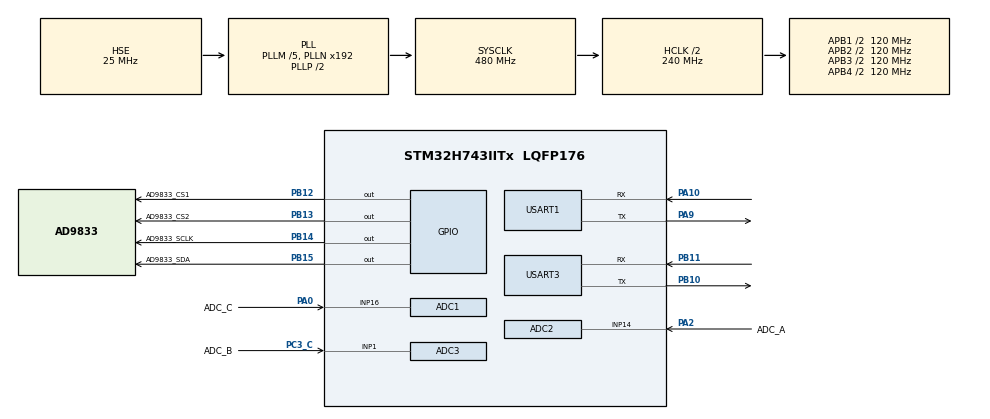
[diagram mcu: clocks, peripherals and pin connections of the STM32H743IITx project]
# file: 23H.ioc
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ADC1.Channel-0\#ChannelRegularConversion=ADC_CHANNEL_16
ADC1.ContinuousConvMode=DISABLE
ADC1.ConversionDataManagement=ADC_CONVERSIONDATA_DMA_ONESHOT
ADC1.ExternalTrigConv=ADC_EXTERNALTRIG_T8_TRGO
ADC1.NbrOfConversionFlag=1
ADC1.OffsetNumber-0\#ChannelRegularConversion=ADC_OFFSET_NONE
ADC1.OffsetSignedSaturation-0\#ChannelRegularConversion=DISABLE
ADC1.Rank-0\#ChannelRegularConversion=1
ADC1.SamplingTime-0\#ChannelRegularConversion=ADC_SAMPLETIME_1CYCLE_5
ADC1.master=1
ADC2.Channel-0\#ChannelRegularConversion=ADC_CHANNEL_14
ADC2.ConversionDataManagement=ADC_CONVERSIONDATA_DMA_ONESHOT
ADC2.ExternalTrigConv=ADC_EXTERNALTRIG_T8_TRGO
ADC2.NbrOfConversionFlag=1
ADC2.OffsetNumber-0\#ChannelRegularConversion=ADC_OFFSET_NONE
ADC2.OffsetSignedSaturation-0\#ChannelRegularConversion=DISABLE
ADC2.Rank-0\#ChannelRegularConversion=1
ADC2.SamplingTime-0\#ChannelRegularConversion=ADC_SAMPLETIME_1CYCLE_5
ADC3.Channel-1\#ChannelRegularConversion=ADC_CHANNEL_1
ADC3.ConversionDataManagement=ADC_CONVERSIONDATA_DMA_ONESHOT
ADC3.ExternalTrigConv=ADC_EXTERNALTRIG_T8_TRGO
ADC3.NbrOfConversionFlag=1
ADC3.OffsetNumber-1\#ChannelRegularConversion=ADC_OFFSET_NONE
ADC3.OffsetSignedSaturation-1\#ChannelRegularConversion=DISABLE
ADC3.Rank-1\#ChannelRegularConversion=1
ADC3.SamplingTime-1\#ChannelRegularConversion=ADC_SAMPLETIME_1CYCLE_5
Dma.ADC1.0.Direction=DMA_PERIPH_TO_MEMORY
Dma.ADC1.0.EventEnable=DISABLE
Dma.ADC1.0.FIFOMode=DMA_FIFOMODE_DISABLE
Dma.ADC1.0.Instance=DMA1_Stream0
Dma.ADC1.0.MemDataAlignment=DMA_MDATAALIGN_HALFWORD
Dma.ADC1.0.MemInc=DMA_MINC_ENABLE
Dma.ADC1.0.Mode=DMA_NORMAL
Dma.ADC1.0.PeriphDataAlignment=DMA_PDATAALIGN_HALFWORD
Dma.ADC1.0.PeriphInc=DMA_PINC_DISABLE
Dma.ADC1.0.Polarity=HAL_DMAMUX_REQ_GEN_RISING
Dma.ADC1.0.Priority=DMA_PRIORITY_LOW
Dma.ADC1.0.RequestNumber=1
Dma.ADC1.0.SignalID=NONE
Dma.ADC1.0.SyncEnable=DISABLE
Dma.ADC1.0.SyncPolarity=HAL_DMAMUX_SYNC_NO_EVENT
Dma.ADC1.0.SyncRequestNumber=1
Dma.ADC1.0.SyncSignalID=NONE
Dma.ADC2.1.Direction=DMA_PERIPH_TO_MEMORY
Dma.ADC2.1.EventEnable=DISABLE
Dma.ADC2.1.FIFOMode=DMA_FIFOMODE_DISABLE
Dma.ADC2.1.Instance=DMA1_Stream1
Dma.ADC2.1.MemDataAlignment=DMA_MDATAALIGN_HALFWORD
Dma.ADC2.1.MemInc=DMA_MINC_ENABLE
Dma.ADC2.1.Mode=DMA_NORMAL
Dma.ADC2.1.PeriphDataAlignment=DMA_PDATAALIGN_HALFWORD
Dma.ADC2.1.PeriphInc=DMA_PINC_DISABLE
Dma.ADC2.1.Polarity=HAL_DMAMUX_REQ_GEN_RISING
Dma.ADC2.1.Priority=DMA_PRIORITY_LOW
Dma.ADC2.1.RequestNumber=1
Dma.ADC2.1.SignalID=NONE
Dma.ADC2.1.SyncEnable=DISABLE
Dma.ADC2.1.SyncPolarity=HAL_DMAMUX_SYNC_NO_EVENT
Dma.ADC2.1.SyncRequestNumber=1
Dma.ADC2.1.SyncSignalID=NONE
Dma.ADC3.2.Direction=DMA_PERIPH_TO_MEMORY
Dma.ADC3.2.EventEnable=DISABLE
Dma.ADC3.2.FIFOMode=DMA_FIFOMODE_DISABLE
Dma.ADC3.2.Instance=DMA1_Stream2
Dma.ADC3.2.MemDataAlignment=DMA_MDATAALIGN_HALFWORD
Dma.ADC3.2.MemInc=DMA_MINC_ENABLE
Dma.ADC3.2.Mode=DMA_NORMAL
Dma.ADC3.2.PeriphDataAlignment=DMA_PDATAALIGN_HALFWORD
Dma.ADC3.2.PeriphInc=DMA_PINC_DISABLE
Dma.ADC3.2.Polarity=HAL_DMAMUX_REQ_GEN_RISING
Dma.ADC3.2.Priority=DMA_PRIORITY_LOW
Dma.ADC3.2.RequestNumber=1
Dma.ADC3.2.SignalID=NONE
Dma.ADC3.2.SyncEnable=DISABLE
Dma.ADC3.2.SyncPolarity=HAL_DMAMUX_SYNC_NO_EVENT
Dma.ADC3.2.SyncRequestNumber=1
Dma.ADC3.2.SyncSignalID=NONE
Dma.Request0=ADC1
Dma.Request1=ADC2
Dma.Request2=ADC3
Mcu.Family=STM32H7
Mcu.Name=STM32H743IITx
Mcu.Package=LQFP176
NVIC.DMA1_Stream0_IRQn=true\:0\:0\:false\:false\:true\:false\:true
NVIC.DMA1_Stream1_IRQn=true\:0\:0\:false\:false\:true\:false\:true
NVIC.DMA1_Stream2_IRQn=true\:0\:0\:false\:false\:true\:false\:true
NVIC.PriorityGroup=NVIC_PRIORITYGROUP_4
NVIC.USART1_IRQn=true\:0\:0\:false\:false\:true\:true\:true
PA0.GPIO_Label=ADC_C
PA0.Mode=IN16-Single-Ended
PA0.Signal=ADC1_INP16
PA10.Mode=Asynchronous
PA10.Signal=USART1_RX
PA13\ (JTMS/SWDIO).Mode=Serial_Wire
PA13\ (JTMS/SWDIO).Signal=DEBUG_JTMS-SWDIO
PA14\ (JTCK/SWCLK).Mode=Serial_Wire
PA14\ (JTCK/SWCLK).Signal=DEBUG_JTCK-SWCLK
PA2.GPIO_Label=ADC_A
PA2.Signal=ADCx_INP14
PA9.Mode=Asynchronous
PA9.Signal=USART1_TX
PB10.Mode=Asynchronous
PB10.Signal=USART3_TX
PB11.Mode=Asynchronous
PB11.Signal=USART3_RX
PB12.GPIO_Label=AD9833_CS1
PB12.Signal=GPIO_Output
PB13.GPIO_Label=AD9833_CS2
PB13.Signal=GPIO_Output
PB14.GPIO_Label=AD9833_SCLK
PB14.Signal=GPIO_Output
PB15.GPIO_Label=AD9833_SDA
PB15.Signal=GPIO_Output
PC14-OSC32_IN\ (OSC32_IN).Mode=LSE-External-Oscillator
PC14-OSC32_IN\ (OSC32_IN).Signal=RCC_OSC32_IN
PC15-OSC32_OUT\ (OSC32_OUT).Mode=LSE-External-Oscillator
PC15-OSC32_OUT\ (OSC32_OUT).Signal=RCC_OSC32_OUT
PC3_C.GPIO_Label=ADC_B
PC3_C.Mode=IN1-Single-Ended
PC3_C.Signal=ADC3_INP1
PH0-OSC_IN\ (PH0).Mode=HSE-External-Oscillator
PH0-OSC_IN\ (PH0).Signal=RCC_OSC_IN
PH1-OSC_OUT\ (PH1).Mode=HSE-External-Oscillator
PH1-OSC_OUT\ (PH1).Signal=RCC_OSC_OUT
ProjectManager.HeapSize=0x200
ProjectManager.StackSize=0x400
ProjectManager.TargetToolchain=MDK-ARM V5
RCC.ADCFreq_Value=75000000
RCC.APB1Freq_Value=120000000
RCC.APB2Freq_Value=120000000
RCC.APB3Freq_Value=120000000
RCC.APB4Freq_Value=120000000
RCC.CortexFreq_Value=480000000
RCC.D1PPRE=RCC_APB3_DIV2
RCC.D2PPRE1=RCC_APB1_DIV2
RCC.D2PPRE2=RCC_APB2_DIV2
RCC.D3PPRE=RCC_APB4_DIV2
RCC.DIVM1=5
RCC.DIVM2=2
RCC.DIVN1=192
RCC.DIVN2=12
RCC.HCLKFreq_Value=240000000
RCC.HPRE=RCC_HCLK_DIV2
RCC.PLL2FRACN=0
RCC.PLLFRACN=0
RCC.PLLSourceVirtual=RCC_PLLSOURCE_HSE
RCC.PWR_Regulator_Voltage_Scale=PWR_REGULATOR_VOLTAGE_SCALE0
RCC.SYSCLKFreq_VALUE=480000000
RCC.SYSCLKSource=RCC_SYSCLKSOURCE_PLLCLK
RCC.USBFreq_Value=480000000
SH.ADCx_INP14.0=ADC2_INP14,IN14-Single-Ended
TIM8.Period=234-1
TIM8.TIM_MasterOutputTrigger=TIM_TRGO_UPDATE
USART1.VirtualMode-Asynchronous=VM_ASYNC
USART3.VirtualMode-Asynchronous=VM_ASYNC
VP_TIM8_VS_ClockSourceINT.Mode=Internal
board=custom

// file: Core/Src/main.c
/* USER CODE BEGIN Header */
/**
 ******************************************************************************
 * @file           : main.c
 * @brief          : Main program body
 ******************************************************************************
 * @attention
 *
 * <h2><center>&copy; Copyright (c) 2026 STMicroelectronics.
 * All rights reserved.</center></h2>
 *
 * This software component is licensed by ST under Ultimate Liberty license
 * SLA0044, the "License"; You may not use this file except in compliance with
 * the License. You may obtain a copy of the License at:
 *                             www.st.com/SLA0044
 *
 ******************************************************************************
 */
/* USER CODE END Header */
#include "main.h"
#include "adc.h"
#include "dma.h"
#include "tim.h"
#include "usart.h"
#include "gpio.h"

/* USER CODE BEGIN Includes */
#include "command.h"
#include "state.h"

/* USER CODE END Includes */

/* USER CODE BEGIN PV */
#define TIM8_COUNTER_CLK_HZ 240000000

volatile uint8_t adc_half_ready = 0;
volatile uint8_t adc_full_ready = 0;
volatile int32_t adc_ready_offset = -1;
volatile uint64_t adc_sample_count = 0;
volatile uint64_t adc_ready_sample_start = 0;
volatile int32_t adc_fll_ready_offset = -1;
volatile uint64_t adc_fll_ready_sample_start = 0;
uint16_t ADC_C[ADC_LEN] = {0};
uint16_t ADC_AD9833_A[ADC_LEN] = {0};
uint16_t ADC_AD9833_B[ADC_LEN] = {0};
uint8_t ADC_flag = 0;

static volatile uint8_t adc_half_sync_mask = 0U;
static volatile uint8_t adc_full_sync_mask = 0U;
static volatile uint8_t adc_restart_pending = 0U;
/* USER CODE END PV */

void SystemClock_Config(void);
void PeriphCommonClock_Config(void);

/* USER CODE BEGIN 0 */
#define ADC_SYNC_C_MASK 0x01U
#define ADC_SYNC_A_MASK 0x02U
#define ADC_SYNC_B_MASK 0x04U
#define ADC_SYNC_ALL_MASK (ADC_SYNC_C_MASK | ADC_SYNC_A_MASK | ADC_SYNC_B_MASK)

static void ADC_StartAllDma(void)
{
    adc_half_sync_mask = 0U;
    adc_full_sync_mask = 0U;

    if (HAL_ADC_Start_DMA(&hadc1, (uint32_t *)ADC_C, ADC_LEN) != HAL_OK)
    {
        Error_Handler();
    }

    if (HAL_ADC_Start_DMA(&hadc2, (uint32_t *)ADC_AD9833_A, ADC_LEN) != HAL_OK)
    {
        Error_Handler();
    }

    if (HAL_ADC_Start_DMA(&hadc3, (uint32_t *)ADC_AD9833_B, ADC_LEN) != HAL_OK)
    {
        Error_Handler();
    }
}

static void ADC_ServiceRestart(void)
{
    if (adc_restart_pending == 0U)
    {
        return;
    }

    __disable_irq();
    adc_restart_pending = 0U;
    __enable_irq();

    ADC_StartAllDma();
    __HAL_TIM_SET_COUNTER(&htim8, 0U);
    __HAL_TIM_ENABLE(&htim8);
}

static uint8_t ADC_SyncMaskFromHandle(ADC_HandleTypeDef *hadc)
{
    if (hadc == &hadc1)
    {
        return ADC_SYNC_C_MASK;
    }

    if (hadc == &hadc2)
    {
        return ADC_SYNC_A_MASK;
    }

    if (hadc == &hadc3)
    {
        return ADC_SYNC_B_MASK;
    }

    return 0U;
}

/* USER CODE END 0 */

int main(void)
{

  /* MCU Configuration--------------------------------------------------------*/

  /* Reset of all peripherals, Initializes the Flash interface and the Systick. */
  HAL_Init();

  /* Configure the system clock */
  SystemClock_Config();

/* Configure the peripherals common clocks */
  PeriphCommonClock_Config();

  /* Initialize all configured peripherals */
  MX_GPIO_Init();
  MX_DMA_Init();
  MX_ADC1_Init();
  MX_TIM8_Init();
  MX_USART1_UART_Init();
  MX_USART3_UART_Init();
  MX_ADC2_Init();
  MX_ADC3_Init();
  /* USER CODE BEGIN 2 */
    HAL_ADCEx_Calibration_Start(&hadc1, ADC_CALIB_OFFSET, ADC_SINGLE_ENDED);
    HAL_ADCEx_Calibration_Start(&hadc2, ADC_CALIB_OFFSET, ADC_SINGLE_ENDED);
    HAL_ADCEx_Calibration_Start(&hadc3, ADC_CALIB_OFFSET, ADC_SINGLE_ENDED);
    ADC_StartAllDma();
    HAL_TIM_Base_Start(&htim8);
    State_Init();
    My_Usart_Init();
  /* USER CODE END 2 */

  /* Infinite loop */
  /* USER CODE BEGIN WHILE */
    while (1)
    {
        ADC_ServiceRestart();
        State_Proc();
    /* USER CODE END WHILE */

    }
}

void SystemClock_Config(void)
{
  RCC_OscInitTypeDef RCC_OscInitStruct = {0};
  RCC_ClkInitTypeDef RCC_ClkInitStruct = {0};

  /** Supply configuration update enable
  */
  HAL_PWREx_ConfigSupply(PWR_LDO_SUPPLY);
  /** Configure the main internal regulator output voltage
  */
  __HAL_PWR_VOLTAGESCALING_CONFIG(PWR_REGULATOR_VOLTAGE_SCALE0);

  while(!__HAL_PWR_GET_FLAG(PWR_FLAG_VOSRDY)) {}
  /** Macro to configure the PLL clock source
  */
  __HAL_RCC_PLL_PLLSOURCE_CONFIG(RCC_PLLSOURCE_HSE);
  /** Initializes the RCC Oscillators according to the specified parameters
  * in the RCC_OscInitTypeDef structure.
  */
  RCC_OscInitStruct.OscillatorType = RCC_OSCILLATORTYPE_HSE;
  RCC_OscInitStruct.HSEState = RCC_HSE_ON;
  RCC_OscInitStruct.PLL.PLLState = RCC_PLL_ON;
  RCC_OscInitStruct.PLL.PLLSource = RCC_PLLSOURCE_HSE;
  RCC_OscInitStruct.PLL.PLLM = 5;
  RCC_OscInitStruct.PLL.PLLN = 192;
  RCC_OscInitStruct.PLL.PLLP = 2;
  RCC_OscInitStruct.PLL.PLLQ = 2;
  RCC_OscInitStruct.PLL.PLLR = 2;
  RCC_OscInitStruct.PLL.PLLRGE = RCC_PLL1VCIRANGE_2;
  RCC_OscInitStruct.PLL.PLLVCOSEL = RCC_PLL1VCOWIDE;
  RCC_OscInitStruct.PLL.PLLFRACN = 0;
  if (HAL_RCC_OscConfig(&RCC_OscInitStruct) != HAL_OK)
  {
    Error_Handler();
  }
  /** Initializes the CPU, AHB and APB buses clocks
  */
  RCC_ClkInitStruct.ClockType = RCC_CLOCKTYPE_HCLK|RCC_CLOCKTYPE_SYSCLK
                              |RCC_CLOCKTYPE_PCLK1|RCC_CLOCKTYPE_PCLK2
                              |RCC_CLOCKTYPE_D3PCLK1|RCC_CLOCKTYPE_D1PCLK1;
  RCC_ClkInitStruct.SYSCLKSource = RCC_SYSCLKSOURCE_PLLCLK;
  RCC_ClkInitStruct.SYSCLKDivider = RCC_SYSCLK_DIV1;
  RCC_ClkInitStruct.AHBCLKDivider = RCC_HCLK_DIV2;
  RCC_ClkInitStruct.APB3CLKDivider = RCC_APB3_DIV2;
  RCC_ClkInitStruct.APB1CLKDivider = RCC_APB1_DIV2;
  RCC_ClkInitStruct.APB2CLKDivider = RCC_APB2_DIV2;
  RCC_ClkInitStruct.APB4CLKDivider = RCC_APB4_DIV2;

  if (HAL_RCC_ClockConfig(&RCC_ClkInitStruct, FLASH_LATENCY_4) != HAL_OK)
  {
    Error_Handler();
  }
}

void PeriphCommonClock_Config(void)
{
  RCC_PeriphCLKInitTypeDef PeriphClkInitStruct = {0};

  /** Initializes the peripherals clock
  */
  PeriphClkInitStruct.PeriphClockSelection = RCC_PERIPHCLK_ADC;
  PeriphClkInitStruct.PLL2.PLL2M = 2;
  PeriphClkInitStruct.PLL2.PLL2N = 12;
  PeriphClkInitStruct.PLL2.PLL2P = 2;
  PeriphClkInitStruct.PLL2.PLL2Q = 2;
  PeriphClkInitStruct.PLL2.PLL2R = 2;
  PeriphClkInitStruct.PLL2.PLL2RGE = RCC_PLL2VCIRANGE_3;
  PeriphClkInitStruct.PLL2.PLL2VCOSEL = RCC_PLL2VCOMEDIUM;
  PeriphClkInitStruct.PLL2.PLL2FRACN = 0;
  PeriphClkInitStruct.AdcClockSelection = RCC_ADCCLKSOURCE_PLL2;
  if (HAL_RCCEx_PeriphCLKConfig(&PeriphClkInitStruct) != HAL_OK)
  {
    Error_Handler();
  }
}

/* USER CODE BEGIN 4 */
void HAL_ADC_ConvHalfCpltCallback(ADC_HandleTypeDef *hadc)
{
    uint8_t sync_mask = ADC_SyncMaskFromHandle(hadc);

    if (hadc == &hadc1)
    {
        adc_half_ready = 1;
        adc_sample_count += (ADC_LEN / 2U);
        adc_ready_offset = 0;
        adc_ready_sample_start = adc_sample_count - (ADC_LEN / 2U);
    }

    if (sync_mask != 0U)
    {
        adc_half_sync_mask |= sync_mask;
        if (adc_half_sync_mask == ADC_SYNC_ALL_MASK)
        {
            adc_half_sync_mask = 0U;
            adc_fll_ready_offset = 0;
            adc_fll_ready_sample_start = adc_ready_sample_start;
        }
    }
}

void HAL_ADC_ConvCpltCallback(ADC_HandleTypeDef *hadc)
{
    uint8_t sync_mask = ADC_SyncMaskFromHandle(hadc);

    if (hadc == &hadc1)
    {
        adc_full_ready = 1;
        adc_sample_count += (ADC_LEN / 2U);
        adc_ready_offset = (int32_t)(ADC_LEN / 2U);
        adc_ready_sample_start = adc_sample_count - (ADC_LEN / 2U);
    }

    if (sync_mask != 0U)
    {
        adc_full_sync_mask |= sync_mask;
        if (adc_full_sync_mask == ADC_SYNC_ALL_MASK)
        {
            adc_full_sync_mask = 0U;
            adc_fll_ready_offset = (int32_t)(ADC_LEN / 2U);
            adc_fll_ready_sample_start = adc_ready_sample_start;
            __HAL_TIM_DISABLE(&htim8);
            adc_restart_pending = 1U;
        }
    }
}
/* USER CODE END 4 */

void Error_Handler(void)
{
    __disable_irq();
    while (1)
    {
    }
}

/************************ (C) COPYRIGHT STMicroelectronics *****END OF FILE****/
